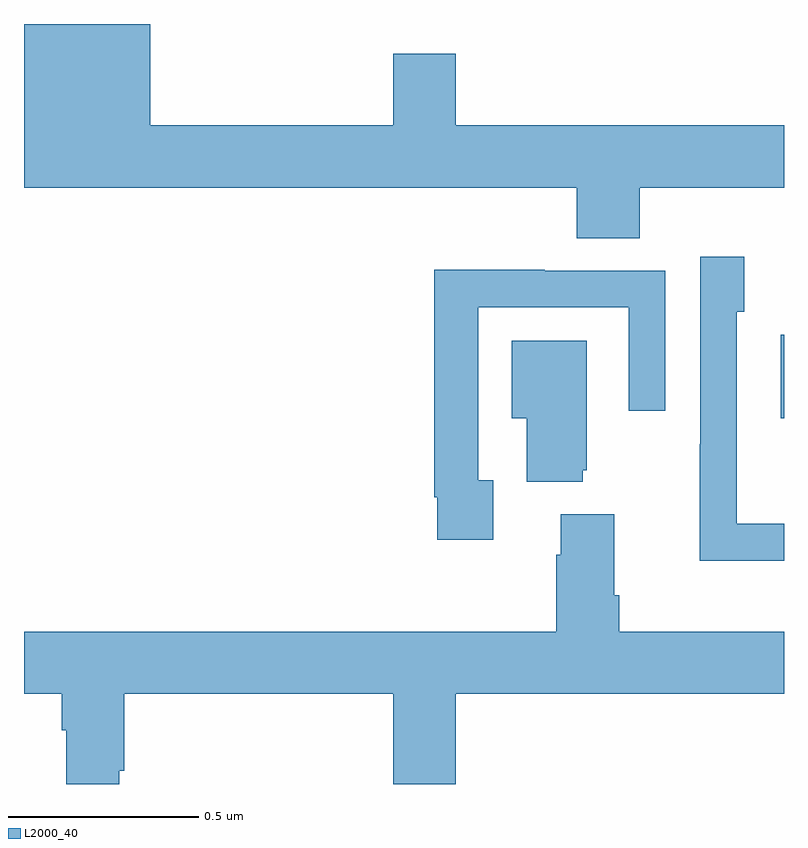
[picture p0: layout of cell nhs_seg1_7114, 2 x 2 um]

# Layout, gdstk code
import gdstk
lib = gdstk.Library(unit=1e-6, precision=1e-09)
def R(c, l, rs):  # rectangles x0, y0, x1, y1
    for r in rs: c.add(gdstk.rectangle(r[:2], r[2:], *l))
def P(c, l, *ps):  # polygons
    for p in ps: c.add(gdstk.Polygon(p, *l))
L2000_40 = (2000, 40)

nhs_seg1_7114 = lib.new_cell('nhs_seg1_7114')
R(nhs_seg1_7114, L2000_40, [(201.992,515.162,202,515.381)])
P(nhs_seg1_7114, L2000_40, [(201.62,515.768),(202,515.768),(202,515.932),(201.136,515.932),(201.136,516.121),(200.972,516.121),(200.972,515.932),(200.332,515.932),(200.332,516.199),(200,516.199),(200,515.768),(201.455,515.768),(201.455,515.635),(201.62,515.635)],
  [(202,514.884),(201.876,514.884),(201.876,515.442),(201.895,515.442),(201.895,515.587),(201.78,515.587),(201.78,515.093),(201.778,515.093),(201.778,514.787),(202,514.787)],
  [(201.235,514.998),(201.195,514.998),(201.195,515.454),(201.591,515.454),(201.591,515.181),(201.687,515.181),(201.687,515.55),(201.371,515.55),(201.371,515.552),(201.079,515.552),(201.079,514.954),(201.087,514.954),(201.087,514.842),(201.235,514.842)],
  [(201.47,515.025),(201.481,515.025),(201.481,515.365),(201.284,515.365),(201.284,515.162),(201.323,515.162),(201.323,514.994),(201.47,514.994)],
  [(200.251,514.234),(200.264,514.234),(200.264,514.436),(200.972,514.436),(200.972,514.199),(201.136,514.199),(201.136,514.436),(202,514.436),(202,514.6),(201.566,514.6),(201.566,514.696),(201.553,514.696),(201.553,514.909),(201.413,514.909),(201.413,514.802),(201.401,514.802),(201.401,514.6),(200,514.6),(200,514.436),(200.099,514.436),(200.099,514.34),(200.111,514.34),(200.111,514.199),(200.251,514.199)])

lib.write_gds('nhs_seg1_7114.gds')
